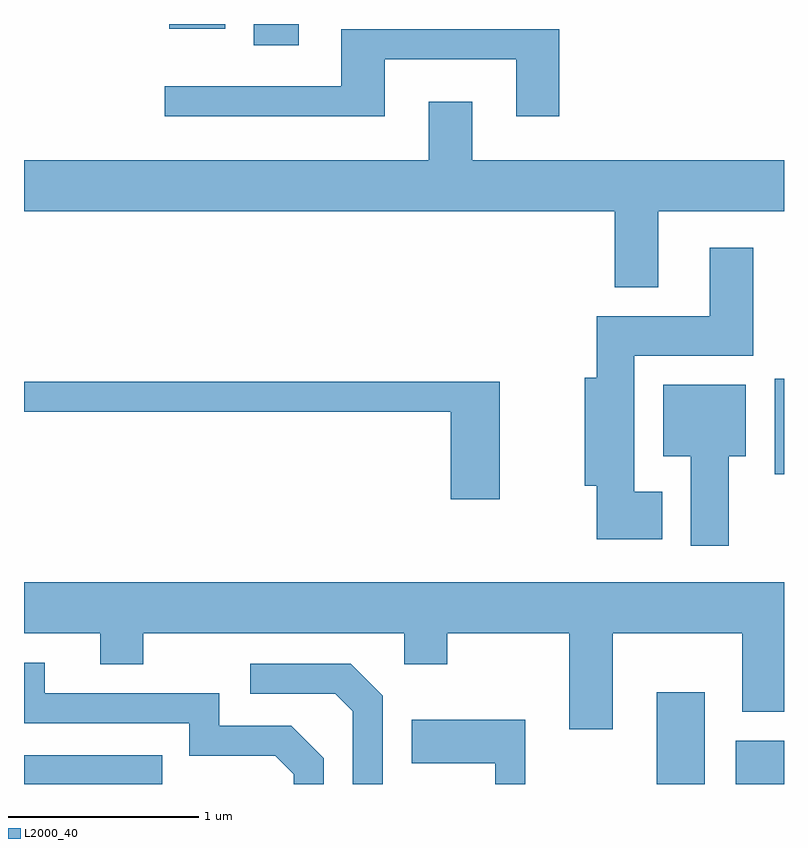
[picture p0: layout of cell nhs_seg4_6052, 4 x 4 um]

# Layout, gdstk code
import gdstk
lib = gdstk.Library(unit=1e-6, precision=1e-09)
def R(c, l, rs):  # rectangles x0, y0, x1, y1
    for r in rs: c.add(gdstk.rectangle(r[:2], r[2:], *l))
def P(c, l, *ps):  # polygons
    for p in ps: c.add(gdstk.Polygon(p, *l))
L2000_40 = (2000, 40)

nhs_seg4_6052 = lib.new_cell('nhs_seg4_6052')
R(nhs_seg4_6052, L2000_40, [(363.611,1253.982,364.338,1254.134), (366.941,1253.982,367.194,1254.464), (367.356,1253.982,367.611,1254.209), (367.561,1255.611,367.611,1256.114), (364.821,1257.871,365.058,1257.982), (364.376,1257.956,364.669,1257.982)])
P(nhs_seg4_6052, L2000_40, [(365.509,1257.796),(366.201,1257.796),(366.201,1257.496),(366.429,1257.496),(366.429,1257.954),(365.281,1257.954),(365.281,1257.654),(364.353,1257.654),(364.353,1257.496),(365.509,1257.496)],
  [(366.949,1256.996),(367.611,1256.996),(367.611,1257.264),(365.969,1257.264),(365.969,1257.574),(365.741,1257.574),(365.741,1257.264),(363.611,1257.264),(363.611,1256.996),(366.721,1256.996),(366.721,1256.596),(366.949,1256.596)],
  [(366.969,1255.519),(366.824,1255.519),(366.824,1256.236),(367.449,1256.236),(367.449,1256.804),(367.221,1256.804),(367.221,1256.444),(366.626,1256.444),(366.626,1256.119),(366.561,1256.119),(366.561,1255.551),(366.626,1255.551),(366.626,1255.271),(366.969,1255.271)],
  [(366.114,1256.099),(363.611,1256.099),(363.611,1255.941),(365.856,1255.941),(365.856,1255.481),(366.114,1255.481)],
  [(367.319,1255.706),(367.409,1255.706),(367.409,1256.084),(366.976,1256.084),(366.976,1255.706),(367.121,1255.706),(367.121,1255.236),(367.319,1255.236)],
  [(366.709,1254.776),(367.391,1254.776),(367.391,1254.361),(367.611,1254.361),(367.611,1255.044),(363.611,1255.044),(363.611,1254.776),(364.011,1254.776),(364.011,1254.611),(364.239,1254.611),(364.239,1254.776),(365.611,1254.776),(365.611,1254.611),(365.839,1254.611),(365.839,1254.776),(366.481,1254.776),(366.481,1254.271),(366.709,1254.271)],
  [(365.189,1254.117),(365.017,1254.289),(364.639,1254.289),(364.639,1254.459),(363.719,1254.459),(363.719,1254.619),(363.611,1254.619),(363.611,1254.301),(364.481,1254.301),(364.481,1254.131),(364.934,1254.131),(365.031,1254.034),(365.031,1253.982),(365.189,1253.982)],
  [(365.499,1254.447),(365.332,1254.614),(364.803,1254.614),(364.803,1254.456),(365.249,1254.456),(365.341,1254.364),(365.341,1253.982),(365.499,1253.982)],
  [(366.249,1254.319),(365.651,1254.319),(365.651,1254.091),(366.091,1254.091),(366.091,1253.982),(366.249,1253.982)])

lib.write_gds('nhs_seg4_6052.gds')
